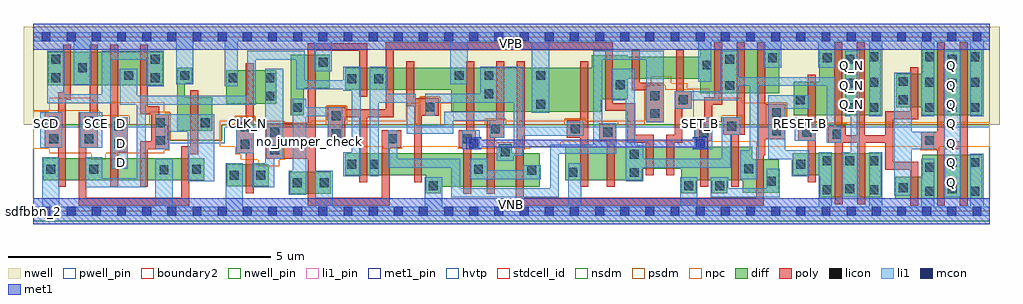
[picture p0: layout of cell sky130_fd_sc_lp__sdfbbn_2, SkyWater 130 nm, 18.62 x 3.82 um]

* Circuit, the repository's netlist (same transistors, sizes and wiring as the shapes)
* Copyright 2020 The SkyWater PDK Authors
*
* Licensed under the Apache License, Version 2.0 (the "License");
* you may not use this file except in compliance with the License.
* You may obtain a copy of the License at
*
*     https://www.apache.org/licenses/LICENSE-2.0
*
* Unless required by applicable law or agreed to in writing, software
* distributed under the License is distributed on an "AS IS" BASIS,
* WITHOUT WARRANTIES OR CONDITIONS OF ANY KIND, either express or implied.
* See the License for the specific language governing permissions and
* limitations under the License.
*
* SPDX-License-Identifier: Apache-2.0

.SUBCKT sky130_fd_sc_lp__sdfbbn_2 CLK_N D RESET_B SCD SCE SET_B VGND VNB VPB VPWR Q Q_N
*.PININFO CLK_N:I D:I RESET_B:I SCD:I SCE:I SET_B:I VGND:I VNB:I VPB:I
*.PININFO VPWR:I Q:O Q_N:O
MI98 net105 D n0 VNB sky130_fd_pr__nfet_01v8 m=1 w=0.42U l=0.15U mult=1 sa=0.265
+ sb=0.265 sd=0.28 area=0.525 perim=3.1
MI103 n1 SCD VGND VNB sky130_fd_pr__nfet_01v8 m=1 w=0.42U l=0.15U mult=1 sa=0.265
+ sb=0.265 sd=0.28 area=0.525 perim=3.1
MI104 n0 sceb VGND VNB sky130_fd_pr__nfet_01v8 m=1 w=0.42U l=0.15U mult=1 sa=0.265
+ sb=0.265 sd=0.28 area=0.525 perim=3.1
MI120 net105 SCE n1 VNB sky130_fd_pr__nfet_01v8 m=1 w=0.42U l=0.15U mult=1 sa=0.265
+ sb=0.265 sd=0.28 area=0.525 perim=3.1
MI46 clkneg clkpos VGND VNB sky130_fd_pr__nfet_01v8 m=1 w=0.42U l=0.15U mult=1
+ sa=0.265 sb=0.265 sd=0.28 area=0.063 perim=1.14
MI642 RESET RESET_B VGND VNB sky130_fd_pr__nfet_01v8 m=1 w=0.42U l=0.15U mult=1
+ sa=0.265 sb=0.265 sd=0.28 area=0.063 perim=1.14
MI676 M1 M0 net176 VNB sky130_fd_pr__nfet_01v8 m=1 w=0.64U l=0.15U mult=1 sa=0.265
+ sb=0.265 sd=0.28 area=0.063 perim=1.14
MI675 net176 SET_B VGND VNB sky130_fd_pr__nfet_01v8 m=1 w=0.64U l=0.15U mult=1
+ sa=0.265 sb=0.265 sd=0.28 area=0.063 perim=1.14
MI653 Q net217 VGND VNB sky130_fd_pr__nfet_01v8 m=2 w=0.84U l=0.15U mult=1 sa=0.265
+ sb=0.265 sd=0.28 area=0.063 perim=1.14
MI677 M1 RESET net176 VNB sky130_fd_pr__nfet_01v8 m=1 w=0.64U l=0.15U mult=1 sa=0.265
+ sb=0.265 sd=0.28 area=0.063 perim=1.14
MI648 M0 clkpos net164 VNB sky130_fd_pr__nfet_01v8 m=1 w=0.42U l=0.15U mult=1 sa=0.265
+ sb=0.265 sd=0.28 area=0.063 perim=1.14
MI44 clkpos CLK_N VGND VNB sky130_fd_pr__nfet_01v8 m=1 w=0.42U l=0.15U mult=1 sa=0.265
+ sb=0.265 sd=0.28 area=0.063 perim=1.14
MI649 net164 M1 VGND VNB sky130_fd_pr__nfet_01v8 m=1 w=0.42U l=0.15U mult=1 sa=0.265
+ sb=0.265 sd=0.28 area=0.063 perim=1.14
MI655 S0 clkneg net149 VNB sky130_fd_pr__nfet_01v8 m=1 w=0.42U l=0.15U mult=1 sa=0.265
+ sb=0.265 sd=0.28 area=0.063 perim=1.14
MI654 net149 net125 VGND VNB sky130_fd_pr__nfet_01v8 m=1 w=0.42U l=0.15U mult=1
+ sa=0.265 sb=0.265 sd=0.28 area=0.063 perim=1.14
MI651 Q_N net125 VGND VNB sky130_fd_pr__nfet_01v8 m=2 w=0.84U l=0.15U mult=1 sa=0.265
+ sb=0.265 sd=0.28 area=0.063 perim=1.14
MI652 net217 net125 VGND VNB sky130_fd_pr__nfet_01v8 m=1 w=0.42U l=0.15U mult=1
+ sa=0.265 sb=0.265 sd=0.28 area=0.063 perim=1.14
MI42 net105 clkneg M0 VNB sky130_fd_pr__nfet_01v8 m=1 w=0.42U l=0.15U mult=1 sa=0.265
+ sb=0.265 sd=0.28 area=0.063 perim=1.14
MI668 S0 clkpos net136 VNB sky130_fd_pr__nfet_01v8 m=1 w=0.64U l=0.15U mult=1 sa=0.265
+ sb=0.265 sd=0.28 area=0.063 perim=1.14
MI667 net136 M1 VGND VNB sky130_fd_pr__nfet_01v8 m=1 w=0.64U l=0.15U mult=1 sa=0.265
+ sb=0.265 sd=0.28 area=0.063 perim=1.14
MI630 net125 RESET net124 VNB sky130_fd_pr__nfet_01v8 m=1 w=0.64U l=0.15U mult=1
+ sa=0.265 sb=0.265 sd=0.28 area=0.063 perim=1.14
MI3 net125 S0 net124 VNB sky130_fd_pr__nfet_01v8 m=1 w=0.64U l=0.15U mult=1 sa=0.265
+ sb=0.265 sd=0.28 area=0.063 perim=1.14
MI7 net124 SET_B VGND VNB sky130_fd_pr__nfet_01v8 m=1 w=0.64U l=0.15U mult=1 sa=0.265
+ sb=0.265 sd=0.28 area=0.063 perim=1.14
MI639 sceb SCE VGND VNB sky130_fd_pr__nfet_01v8 m=1 w=0.42U l=0.15U mult=1 sa=0.265
+ sb=0.265 sd=0.28 area=0.063 perim=1.14
MI107 p0 SCE VPWR VPB sky130_fd_pr__pfet_01v8_hvt m=1 w=0.64U l=0.15U mult=1 sa=0.265
+ sb=0.265 sd=0.28 area=0.063 perim=1.14
MI94 net105 D p0 VPB sky130_fd_pr__pfet_01v8_hvt m=1 w=0.64U l=0.15U mult=1 sa=0.265
+ sb=0.265 sd=0.28 area=0.063 perim=1.14
MI101 net105 sceb p1 VPB sky130_fd_pr__pfet_01v8_hvt m=1 w=0.64U l=0.15U mult=1
+ sa=0.265 sb=0.265 sd=0.28 area=0.063 perim=1.14
MI108 p1 SCD VPWR VPB sky130_fd_pr__pfet_01v8_hvt m=1 w=0.64U l=0.15U mult=1 sa=0.265
+ sb=0.265 sd=0.28 area=0.063 perim=1.14
MI679 M1 SET_B VPWR VPB sky130_fd_pr__pfet_01v8_hvt m=1 w=0.84U l=0.15U mult=1
+ sa=0.265 sb=0.265 sd=0.28 area=0.063 perim=1.14
MI669 S0 clkneg net269 VPB sky130_fd_pr__pfet_01v8_hvt m=1 w=0.84U l=0.15U mult=1
+ sa=0.265 sb=0.265 sd=0.28 area=0.063 perim=1.14
MI660 Q net217 VPWR VPB sky130_fd_pr__pfet_01v8_hvt m=2 w=1.26U l=0.15U mult=1
+ sa=0.265 sb=0.265 sd=0.28 area=0.063 perim=1.14
MI9 net125 S0 net272 VPB sky130_fd_pr__pfet_01v8_hvt m=1 w=0.84U l=0.15U mult=1
+ sa=0.265 sb=0.265 sd=0.28 area=0.063 perim=1.14
MI670 net269 M1 VPWR VPB sky130_fd_pr__pfet_01v8_hvt m=1 w=0.84U l=0.15U mult=1
+ sa=0.265 sb=0.265 sd=0.28 area=0.063 perim=1.14
MI678 net220 RESET VPWR VPB sky130_fd_pr__pfet_01v8_hvt m=1 w=0.84U l=0.15U mult=1
+ sa=0.265 sb=0.265 sd=0.28 area=0.063 perim=1.14
MI662 net261 net125 VPWR VPB sky130_fd_pr__pfet_01v8_hvt m=1 w=0.42U l=0.15U mult=1
+ sa=0.265 sb=0.265 sd=0.28 area=0.063 perim=1.14
MI664 S0 clkpos net261 VPB sky130_fd_pr__pfet_01v8_hvt m=1 w=0.42U l=0.15U mult=1
+ sa=0.265 sb=0.265 sd=0.28 area=0.063 perim=1.14
MI10 net125 SET_B VPWR VPB sky130_fd_pr__pfet_01v8_hvt m=1 w=0.84U l=0.15U mult=1
+ sa=0.265 sb=0.265 sd=0.28 area=0.063 perim=1.14
MI11 net272 RESET VPWR VPB sky130_fd_pr__pfet_01v8_hvt m=1 w=0.84U l=0.15U mult=1
+ sa=0.265 sb=0.265 sd=0.28 area=0.063 perim=1.14
MI650 net245 M1 VPWR VPB sky130_fd_pr__pfet_01v8_hvt m=1 w=0.42U l=0.15U mult=1
+ sa=0.265 sb=0.265 sd=0.28 area=0.063 perim=1.14
MI43 net105 clkpos M0 VPB sky130_fd_pr__pfet_01v8_hvt m=1 w=0.42U l=0.15U mult=1
+ sa=0.265 sb=0.265 sd=0.28 area=0.063 perim=1.14
MI656 M0 clkneg net245 VPB sky130_fd_pr__pfet_01v8_hvt m=1 w=0.42U l=0.15U mult=1
+ sa=0.265 sb=0.265 sd=0.28 area=0.063 perim=1.14
MI643 RESET RESET_B VPWR VPB sky130_fd_pr__pfet_01v8_hvt m=1 w=0.64U l=0.15U mult=1
+ sa=0.265 sb=0.265 sd=0.28 area=0.063 perim=1.14
MI47 clkneg clkpos VPWR VPB sky130_fd_pr__pfet_01v8_hvt m=1 w=0.64U l=0.15U mult=1
+ sa=0.265 sb=0.265 sd=0.28 area=0.063 perim=1.14
MI45 clkpos CLK_N VPWR VPB sky130_fd_pr__pfet_01v8_hvt m=1 w=0.64U l=0.15U mult=1
+ sa=0.265 sb=0.265 sd=0.28 area=0.063 perim=1.14
MI680 M1 M0 net220 VPB sky130_fd_pr__pfet_01v8_hvt m=1 w=0.84U l=0.15U mult=1 sa=0.265
+ sb=0.265 sd=0.28 area=0.063 perim=1.14
MI663 net217 net125 VPWR VPB sky130_fd_pr__pfet_01v8_hvt m=1 w=0.64U l=0.15U mult=1
+ sa=0.265 sb=0.265 sd=0.28 area=0.063 perim=1.14
MI661 Q_N net125 VPWR VPB sky130_fd_pr__pfet_01v8_hvt m=2 w=1.26U l=0.15U mult=1
+ sa=0.265 sb=0.265 sd=0.28 area=0.063 perim=1.14
MI640 sceb SCE VPWR VPB sky130_fd_pr__pfet_01v8_hvt m=1 w=0.64U l=0.15U mult=1
+ sa=0.265 sb=0.265 sd=0.28 area=0.063 perim=1.14
.ENDS sky130_fd_sc_lp__sdfbbn_2

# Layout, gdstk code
import gdstk
lib = gdstk.Library(unit=1e-6, precision=1e-09)
def R(c, l, rs):  # rectangles x0, y0, x1, y1
    for r in rs: c.add(gdstk.rectangle(r[:2], r[2:], *l))
def A(c, l, x, y, w, h, nx, ny, dx, dy):  # array of equal rectangles
    R(c, l, [(x+i*dx, y+j*dy, x+i*dx+w, y+j*dy+h) for i in range(nx) for j in range(ny)])
def P(c, l, *ps):  # polygons
    for p in ps: c.add(gdstk.Polygon(p, *l))
nwell_pin = (64, 16)
nwell = (64, 20)
diff = (65, 20)
poly = (66, 20)
licon = (66, 44)
li1_pin = (67, 16)
li1 = (67, 20)
mcon = (67, 44)
met1_pin = (68, 16)
met1 = (68, 20)
hvtp = (78, 44)
stdcell_id = (81, 4)
nsdm = (93, 44)
psdm = (94, 20)
npc = (95, 20)
pwell_pin = (122, 16)
boundary2 = (236, 0)

sky130_fd_sc_lp__sdfbbn_ = lib.new_cell('sky130_fd_sc_lp__sdfbbn_2')
R(sky130_fd_sc_lp__sdfbbn_, nwell_pin, [(0,3.085,18.24,3.33)])
P(sky130_fd_sc_lp__sdfbbn_, nwell, [(18.43,3.52),(-0.19,3.52),(-0.19,1.655),(2.56,1.655),(2.56,1.355),(3.59,1.355),(3.59,1.655),(18.43,1.655)])
R(sky130_fd_sc_lp__sdfbbn_, diff, [(4.89,0.335,5.675,0.755), (3.685,0.475,4.485,0.895), (0.185,0.595,3.255,1.015), (3.68,2.055,4.635,2.695), (0.28,2.405,2.47,3.045)])
P(sky130_fd_sc_lp__sdfbbn_, diff, [(3.41,2.175),(2.89,2.175),(2.89,2.445),(3.03,2.445),(3.03,2.735),(2.74,2.735),(2.74,1.535),(3.41,1.535)],
  [(5.655,2.985),(4.905,2.985),(4.905,1.835),(5.16,1.835),(5.16,2.345),(5.655,2.345)],
  [(9.655,1.105),(9.125,1.105),(9.125,1.275),(8.875,1.275),(8.875,1.105),(5.945,1.105),(5.945,0.685),(7.485,0.685),(7.485,0.34),(7.775,0.34),(7.775,0.465),(9.655,0.465)],
  [(14.22,0.995),(13.71,0.995),(13.71,1.235),(10.145,1.235),(10.145,0.595),(11.61,0.595),(11.61,0.815),(12.355,0.815),(12.355,0.34),(12.645,0.34),(12.645,0.595),(12.945,0.595),(12.945,0.34),(13.235,0.34),(13.235,0.595),(13.535,0.595),(13.535,0.355),(14.22,0.355)],
  [(14.23,3.095),(12.72,3.095),(12.72,2.95),(11.34,2.95),(11.34,2.98),(10.655,2.98),(10.655,2.735),(5.945,2.735),(5.945,2.315),(7.975,2.315),(7.975,1.895),(10.83,1.895),(10.83,2.14),(11.34,2.14),(11.34,2.53),(12.72,2.53),(12.72,2.255),(14.23,2.255)],
  [(16.16,3.095),(14.995,3.095),(14.995,2.475),(14.5,2.475),(14.5,1.835),(16.16,1.835)],
  [(16.175,1.105),(14.49,1.105),(14.49,0.685),(15,0.685),(15,0.265),(16.175,0.265)],
  [(18.105,3.095),(16.955,3.095),(16.955,2.62),(16.46,2.62),(16.46,1.98),(16.955,1.98),(16.955,1.835),(18.105,1.835)],
  [(18.105,1.075),(16.955,1.075),(16.955,0.655),(16.445,0.655),(16.445,0.235),(18.105,0.235)])
P(sky130_fd_sc_lp__sdfbbn_, poly, [(0.715,3.175),(0.565,3.175),(0.565,2.275),(0.47,2.275),(0.47,1.885),(0.22,1.885),(0.22,1.215),(0.47,1.215),(0.47,0.465),(0.62,0.465),(0.62,2.125),(0.715,2.125)],
  [(1.795,1.795),(1.615,1.795),(1.615,3.175),(1.465,3.175),(1.465,0.465),(1.615,0.465),(1.615,1.125),(1.795,1.125)],
  [(2.58,1.855),(2.4,1.855),(2.4,2.005),(2.185,2.005),(2.185,3.175),(2.035,3.175),(2.035,1.855),(2.25,1.855),(2.25,1.335),(2.035,1.335),(2.035,0.465),(2.185,0.465),(2.185,1.185),(2.58,1.185)],
  [(3.14,2.305),(2.99,2.305),(2.99,1.24),(2.82,1.24),(2.82,0.255),(1.01,0.255),(1.01,1.215),(1.225,1.215),(1.225,3.175),(1.075,3.175),(1.075,1.885),(0.86,1.885),(0.86,0.105),(2.97,0.105),(2.97,1.09),(3.14,1.09)],
  [(4.2,2.825),(4.05,2.825),(4.05,1.78),(3.87,1.78),(3.87,1.11),(4.05,1.11),(4.05,0.345),(4.2,0.345)],
  [(7.02,1.545),(6.645,1.545),(6.645,0.26),(5.385,0.26),(5.385,3.06),(6.215,3.06),(6.215,2.185),(6.365,2.185),(6.365,3.21),(5.235,3.21),(5.235,1.675),(4.44,1.675),(4.44,1.005),(5.235,1.005),(5.235,0.11),(6.795,0.11),(6.795,1.215),(7.02,1.215)],
  [(7.73,2.155),(7.265,2.155),(7.265,2.865),(7.115,2.865),(7.115,2.005),(7.26,2.005),(7.26,0.555),(7.41,0.555),(7.41,1.825),(7.73,1.825)],
  [(8.44,1.545),(8.41,1.545),(8.41,2.865),(8.26,2.865),(8.26,1.545),(8.11,1.545),(8.11,1.215),(8.2,1.215),(8.2,0.335),(8.35,0.335),(8.35,1.215),(8.44,1.215)],
  [(8.98,2.865),(8.83,2.865),(8.83,1.735),(8.65,1.735),(8.65,0.335),(8.8,0.335),(8.8,1.405),(8.98,1.405)],
  [(10.58,2.865),(10.43,2.865),(10.43,1.735),(10.17,1.735),(10.17,1.405),(10.43,1.405),(10.43,0.465),(10.58,0.465)],
  [(11.12,1.675),(10.79,1.675),(10.79,1.345),(10.94,1.345),(10.94,0.465),(11.09,0.465),(11.09,1.345),(11.12,1.345)],
  [(11.835,1.46),(11.48,1.46),(11.48,2.065),(11.055,2.065),(11.055,3.225),(6.725,3.225),(6.725,1.945),(5.945,1.945),(5.945,1.985),(5.615,1.985),(5.615,1.315),(5.945,1.315),(5.945,1.795),(6.215,1.795),(6.215,0.555),(6.365,0.555),(6.365,1.795),(6.875,1.795),(6.875,3.075),(10.905,3.075),(10.905,1.915),(11.33,1.915),(11.33,1.31),(11.685,1.31),(11.685,0.685),(11.835,0.685)],
  [(12.02,2.455),(11.565,2.455),(11.565,3.08),(11.415,3.08),(11.415,2.305),(11.69,2.305),(11.69,1.7),(12.02,1.7)],
  [(12.56,2.29),(12.41,2.29),(12.41,3.08),(12.26,3.08),(12.26,2.29),(12.23,2.29),(12.23,1.46),(12.075,1.46),(12.075,0.685),(12.225,0.685),(12.225,1.31),(12.38,1.31),(12.38,1.96),(12.56,1.96)],
  [(13.14,3.225),(12.99,3.225),(12.99,2.18),(12.8,2.18),(12.8,1.675),(12.62,1.675),(12.62,1.345),(12.72,1.345),(12.72,0.465),(12.87,0.465),(12.87,1.345),(12.95,1.345),(12.95,2.03),(13.14,2.03)],
  [(13.57,3.225),(13.42,3.225),(13.42,1.79),(13.16,1.79),(13.16,1.46),(13.31,1.46),(13.31,0.465),(13.46,0.465),(13.46,1.46),(13.57,1.46)],
  [(14.34,2.045),(13.96,2.045),(13.96,3.225),(13.81,3.225),(13.81,1.22),(13.785,1.22),(13.785,0.255),(9.35,0.255),(9.35,1.18),(9.37,1.18),(9.37,2.865),(9.22,2.865),(9.22,1.33),(9.2,1.33),(9.2,0.105),(13.935,0.105),(13.935,1.07),(13.96,1.07),(13.96,1.375),(14.34,1.375)],
  [(14.925,1.495),(14.92,1.495),(14.92,2.605),(14.77,2.605),(14.77,1.675),(14.59,1.675),(14.59,1.345),(14.775,1.345),(14.775,0.555),(14.925,0.555)],
  [(16.88,0.945),(16.4,0.945),(16.4,1.755),(16.88,1.755),(16.88,2.75),(16.73,2.75),(16.73,1.905),(16.25,1.905),(16.25,1.455),(15.86,1.455),(15.86,3.225),(15.71,3.225),(15.71,1.455),(15.495,1.455),(15.495,1.635),(15.43,1.635),(15.43,3.225),(15.28,3.225),(15.28,1.635),(15.165,1.635),(15.165,1.305),(15.285,1.305),(15.285,0.135),(15.435,0.135),(15.435,1.305),(15.715,1.305),(15.715,0.135),(15.865,0.135),(15.865,1.305),(16.25,1.305),(16.25,0.795),(16.73,0.795),(16.73,0.105),(16.88,0.105)],
  [(17.82,3.225),(17.67,3.225),(17.67,1.335),(17.39,1.335),(17.39,3.225),(17.24,3.225),(17.24,1.515),(16.935,1.515),(16.935,1.185),(17.24,1.185),(17.24,0.105),(17.39,0.105),(17.39,1.185),(17.67,1.185),(17.67,0.105),(17.82,0.105)])
A(sky130_fd_sc_lp__sdfbbn_, licon, 15.485, 1.895, 0.17, 0.17, 1, 3, 0, 0.46)
A(sky130_fd_sc_lp__sdfbbn_, licon, 15.945, 1.895, 0.17, 0.17, 1, 3, 0, 0.485)
A(sky130_fd_sc_lp__sdfbbn_, licon, 17.015, 1.895, 0.17, 0.17, 3, 1, 0.43, 0)
R(sky130_fd_sc_lp__sdfbbn_, licon, [(17.015,0.295,17.185,0.465), (17.875,0.295,18.045,0.465), (15.06,0.325,15.23,0.495), (15.945,0.325,16.115,0.495), (15.49,0.345,15.66,0.515), (17.445,0.345,17.615,0.515), (16.505,0.36,16.675,0.53), (7.545,0.4,7.715,0.57), (12.415,0.4,12.585,0.57), (13.005,0.4,13.175,0.57), (4.95,0.46,5.12,0.63), (5.46,0.46,5.63,0.63), (13.99,0.49,14.16,0.66), (3.745,0.6,3.915,0.77), (4.255,0.6,4.425,0.77), (11.38,0.655,11.55,0.825), (10.205,0.66,10.375,0.83), (9.425,0.7,9.595,0.87), (2.405,0.705,2.575,0.875), (0.245,0.72,0.415,0.89), (1.065,0.72,1.235,0.89), (3.025,0.72,3.195,0.89), (8.405,0.72,8.575,0.89), (13.56,0.73,13.73,0.9), (17.015,0.755,17.185,0.925), (5.99,0.81,6.16,0.98), (6.42,0.81,6.59,0.98), (14.55,0.81,14.72,0.98), (17.445,0.845,17.615,1.015), (17.875,0.845,18.045,1.015), (15.06,0.875,15.23,1.045), (15.49,0.875,15.66,1.045), (15.945,0.875,16.115,1.045), (11.38,1.005,11.55,1.175), (8.915,1.045,9.085,1.215), (4.52,1.085,4.69,1.255), (3.95,1.19,4.12,1.36), (1.545,1.205,1.715,1.375), (2.33,1.265,2.5,1.435), (17.015,1.265,17.185,1.435), (0.3,1.295,0.47,1.465), (0.975,1.295,1.145,1.465), (6.77,1.295,6.94,1.465), (8.19,1.295,8.36,1.465), (15.245,1.385,15.415,1.555), (5.695,1.395,5.865,1.565), (4.52,1.425,4.69,1.595), (10.87,1.425,11.04,1.595), (12.7,1.425,12.87,1.595), (14.67,1.425,14.84,1.595), (14.09,1.455,14.26,1.625), (8.73,1.485,8.9,1.655), (10.25,1.485,10.42,1.655), (3.95,1.53,4.12,1.7), (13.24,1.54,13.41,1.71), (1.545,1.545,1.715,1.715), (3.195,1.6,3.365,1.77), (2.33,1.605,2.5,1.775), (0.3,1.635,0.47,1.805), (0.975,1.635,1.145,1.805), (5.695,1.735,5.865,1.905), (11.77,1.78,11.94,1.95), (14.09,1.795,14.26,1.965), (4.95,1.895,5.12,2.065), (7.48,1.905,7.65,2.075), (9.59,1.955,9.76,2.125), (12.31,2.04,12.48,2.21), (14.545,2.04,14.715,2.21), (16.505,2.04,16.675,2.21), (4.425,2.115,4.595,2.285), (11.77,2.12,11.94,2.29), (8.605,2.155,8.775,2.325), (13.195,2.315,13.365,2.485), (11.11,2.33,11.28,2.5), (17.445,2.355,17.615,2.525), (17.015,2.38,17.185,2.55), (17.875,2.38,18.045,2.55), (16.505,2.39,16.675,2.56), (5.99,2.44,6.16,2.61), (6.5,2.44,6.67,2.61), (0.34,2.465,0.51,2.635), (2.24,2.465,2.41,2.635), (3.725,2.465,3.895,2.635), (4.425,2.465,4.595,2.635), (1.73,2.505,1.9,2.675), (2.8,2.505,2.97,2.675), (8.035,2.505,8.205,2.675), (8.605,2.505,8.775,2.675), (9.59,2.505,9.76,2.675), (0.85,2.655,1.02,2.825), (12.765,2.705,12.935,2.875), (5.44,2.755,5.61,2.925), (0.34,2.815,0.51,2.985), (2.24,2.815,2.41,2.985), (13.195,2.815,13.365,2.985), (17.445,2.815,17.615,2.985), (14.015,2.84,14.185,3.01), (15.055,2.84,15.225,3.01), (17.015,2.865,17.185,3.035), (17.875,2.865,18.045,3.035)])
A(sky130_fd_sc_lp__sdfbbn_, li1_pin, 17.435, 0.47, 0.17, 0.17, 1, 7, 0, 0.37)
A(sky130_fd_sc_lp__sdfbbn_, li1_pin, 1.595, 0.84, 0.17, 0.17, 1, 3, 0, 0.37)
A(sky130_fd_sc_lp__sdfbbn_, li1_pin, 15.515, 1.95, 0.17, 0.17, 1, 3, 0, 0.37)
R(sky130_fd_sc_lp__sdfbbn_, li1_pin, [(3.995,1.21,4.165,1.38), (0.155,1.58,0.325,1.75), (1.115,1.58,1.285,1.75), (3.995,1.58,4.165,1.75), (12.635,1.58,12.805,1.75), (14.555,1.58,14.725,1.75)])
R(sky130_fd_sc_lp__sdfbbn_, li1, [(17.365,0.265,17.695,3.065), (1.495,0.81,1.795,1.795), (3.87,1.11,4.2,1.78), (8.185,1.18,8.515,1.545), (12.605,1.18,12.95,1.78), (0.125,1.215,0.55,1.885), (0.895,1.215,1.315,1.885), (14.525,1.345,14.92,1.78)])
P(sky130_fd_sc_lp__sdfbbn_, li1, [(0.77,2.415),(0.77,3.245),(0,3.245),(0,3.415),(18.24,3.415),(18.24,3.245),(18.125,3.245),(18.125,1.815),(17.875,1.815),(17.875,3.245),(17.185,3.245),(17.185,1.815),(16.935,1.815),(16.935,3.245),(16.195,3.245),(16.195,1.815),(15.945,1.815),(15.945,3.245),(15.305,3.245),(15.305,2.74),(14.975,2.74),(14.975,3.245),(14.265,3.245),(14.265,2.74),(13.935,2.74),(13.935,3.245),(12.935,3.245),(12.935,2.47),(12.685,2.47),(12.685,3.245),(9.84,3.245),(9.84,1.875),(9.51,1.875),(9.51,3.245),(8.285,3.245),(8.285,2.425),(7.955,2.425),(7.955,3.245),(5.69,3.245),(5.69,2.675),(5.36,2.675),(5.36,3.245),(3.895,3.245),(3.895,2.385),(3.645,2.385),(3.645,3.245),(3.05,3.245),(3.05,2.425),(2.72,2.425),(2.72,3.245),(1.1,3.245),(1.1,2.415)],
  [(0.165,0.085),(0.165,1.035),(0.495,1.035),(0.495,0.085),(2.325,0.085),(2.325,1.005),(2.655,1.005),(2.655,0.085),(3.665,0.085),(3.665,0.915),(3.995,0.915),(3.995,0.085),(5.38,0.085),(5.38,0.775),(5.71,0.775),(5.71,0.085),(7.465,0.085),(7.465,0.65),(7.795,0.65),(7.795,0.085),(10.205,0.085),(10.205,0.915),(10.455,0.915),(10.455,0.085),(12.335,0.085),(12.335,0.65),(12.665,0.65),(12.665,0.085),(14.98,0.085),(14.98,1.125),(15.23,1.125),(15.23,0.085),(15.945,0.085),(15.945,1.125),(16.195,1.125),(16.195,0.085),(16.935,0.085),(16.935,1.005),(17.185,1.005),(17.185,0.085),(17.875,0.085),(17.875,1.095),(18.125,1.095),(18.125,0.085),(18.24,0.085),(18.24,-0.085),(0,-0.085),(0,0.085)],
  [(6.75,2.245),(7.295,2.245),(7.295,1.645),(7.835,1.645),(7.835,1.895),(8.98,1.895),(8.98,1.405),(8.705,1.405),(8.705,1.725),(8.005,1.725),(8.005,1.475),(7.125,1.475),(7.125,2.075),(6.59,2.075),(6.59,0.665),(6.42,0.665),(6.42,2.755),(6.75,2.755)],
  [(13.445,2.56),(15.305,2.56),(15.305,1.635),(15.415,1.635),(15.415,1.305),(15.135,1.305),(15.135,2.39),(13.835,2.39),(13.835,0.995),(13.81,0.995),(13.81,0.615),(13.48,0.615),(13.48,1.165),(13.665,1.165),(13.665,2.39),(13.445,2.39),(13.445,2.12),(12.56,2.12),(12.56,1.96),(12.23,1.96),(12.23,2.29),(13.115,2.29),(13.115,3.065),(13.445,3.065)],
  [(16.755,1.515),(17.185,1.515),(17.185,1.185),(16.755,1.185),(16.755,0.295),(16.425,0.295),(16.425,2.64),(16.755,2.64)],
  [(3.445,1.855),(3.445,0.575),(2.945,0.575),(2.945,1.515),(2.58,1.515),(2.58,1.185),(2.325,1.185),(2.325,1.855)],
  [(0.26,2.065),(0.26,3.065),(0.59,3.065),(0.59,2.235),(1.3,2.235),(1.3,3.065),(2.49,3.065),(2.49,2.385),(2.16,2.385),(2.16,2.895),(1.47,2.895),(1.47,2.065)],
  [(4.175,0.455),(4.175,0.915),(4.425,0.915),(4.425,2.715),(4.77,2.715),(4.77,1.005),(4.595,1.005),(4.595,0.455)],
  [(5.2,1.985),(5.89,1.985),(5.89,1.315),(5.615,1.315),(5.615,1.815),(5.2,1.815),(5.2,0.315),(4.87,0.315),(4.87,0.775),(4.95,0.775),(4.95,2.145),(5.2,2.145)],
  [(9.855,1.265),(10.68,1.265),(10.68,3.065),(12.02,3.065),(12.02,1.7),(11.69,1.7),(11.69,2.895),(10.85,2.895),(10.85,1.675),(11.12,1.675),(11.12,1.095),(10.025,1.095),(10.025,0.265),(7.975,0.265),(7.975,0.83),(6.77,0.83),(6.77,1.545),(6.945,1.545),(6.945,1),(8.145,1),(8.145,0.435),(9.855,0.435)],
  [(11.63,1),(13.13,1),(13.13,1.79),(13.485,1.79),(13.485,1.46),(13.3,1.46),(13.3,0.83),(11.63,0.83),(11.63,0.575),(11.3,0.575),(11.3,2.12),(11.03,2.12),(11.03,2.715),(11.47,2.715),(11.47,1.255),(11.63,1.255)],
  [(8.325,0.615),(8.325,1),(8.655,1),(8.655,0.785),(9.345,0.785),(9.345,0.875),(9.675,0.875),(9.675,0.615)],
  [(9.16,1.225),(9.16,2.075),(7.655,2.075),(7.655,1.825),(7.475,1.825),(7.475,2.245),(8.525,2.245),(8.525,2.755),(9.33,2.755),(9.33,1.615),(10.17,1.615),(10.17,1.705),(10.5,1.705),(10.5,1.445),(9.33,1.445),(9.33,1.055),(9.165,1.055),(9.165,0.965),(8.835,0.965),(8.835,1.225)],
  [(4.075,2.205),(4.075,3.065),(5.18,3.065),(5.18,2.495),(5.91,2.495),(5.91,2.755),(6.24,2.755),(6.24,0.665),(5.91,0.665),(5.91,1.125),(6.07,1.125),(6.07,2.295),(5.91,2.295),(5.91,2.325),(5.01,2.325),(5.01,2.895),(4.245,2.895),(4.245,2.035),(2.145,2.035),(2.145,0.46),(0.985,0.46),(0.985,1.035),(1.315,1.035),(1.315,0.63),(1.975,0.63),(1.975,2.035),(1.65,2.035),(1.65,2.715),(1.98,2.715),(1.98,2.205)],
  [(13.99,0.435),(13.99,0.815),(14.24,0.815),(14.24,0.265),(12.925,0.265),(12.925,0.65),(13.255,0.65),(13.255,0.435)],
  [(14.015,2.21),(14.795,2.21),(14.795,1.96),(14.34,1.96),(14.34,1.165),(14.8,1.165),(14.8,0.665),(14.47,0.665),(14.47,0.995),(14.015,0.995)],
  [(15.485,1.815),(15.485,3.065),(15.765,3.065),(15.765,0.265),(15.41,0.265),(15.41,1.125),(15.595,1.125),(15.595,1.815)])
A(sky130_fd_sc_lp__sdfbbn_, mcon, 0.155, -0.085, 0.17, 0.17, 38, 2, 0.48, 3.33)
R(sky130_fd_sc_lp__sdfbbn_, mcon, [(8.315,1.21,8.485,1.38), (12.635,1.21,12.805,1.38)])
R(sky130_fd_sc_lp__sdfbbn_, met1_pin, [(0,0,18.24,0.245), (0,3.085,18.24,3.33)])
R(sky130_fd_sc_lp__sdfbbn_, met1, [(0,-0.245,18.24,0.245), (0,3.085,18.24,3.575)])
P(sky130_fd_sc_lp__sdfbbn_, met1, [(8.545,1.365),(12.575,1.365),(12.575,1.41),(12.865,1.41),(12.865,1.18),(12.575,1.18),(12.575,1.225),(8.545,1.225),(8.545,1.18),(8.255,1.18),(8.255,1.41),(8.545,1.41)])
P(sky130_fd_sc_lp__sdfbbn_, hvtp, [(18.24,3.33),(0,3.33),(0,1.6),(2.505,1.6),(2.505,1.3),(3.645,1.3),(3.645,1.6),(18.24,1.6)])
R(sky130_fd_sc_lp__sdfbbn_, stdcell_id, [(0,0,18.24,3.33)])
P(sky130_fd_sc_lp__sdfbbn_, nsdm, [(18.24,1.655),(3.59,1.655),(3.59,1.355),(2.56,1.355),(2.56,1.655),(0,1.655),(0,-0.19),(18.24,-0.19)])
P(sky130_fd_sc_lp__sdfbbn_, psdm, [(18.24,3.52),(0,3.52),(0,1.915),(1.255,1.915),(1.255,1.825),(1.825,1.825),(1.825,1.655),(2.22,1.655),(2.22,1.885),(2.61,1.885),(2.61,1.355),(3.59,1.355),(3.59,1.655),(3.84,1.655),(3.84,1.81),(4.23,1.81),(4.23,1.705),(4.8,1.705),(4.8,1.655),(5.585,1.655),(5.585,2.015),(5.975,2.015),(5.975,1.655),(7.37,1.655),(7.37,2.185),(7.76,2.185),(7.76,1.655),(8.62,1.655),(8.62,1.765),(9.01,1.765),(9.01,1.655),(10.14,1.655),(10.14,1.765),(10.53,1.765),(10.53,1.705),(11.15,1.705),(11.15,1.655),(11.66,1.655),(11.66,2.4),(12.05,2.4),(12.05,2.32),(12.59,2.32),(12.59,1.705),(13.13,1.705),(13.13,1.82),(13.52,1.82),(13.52,1.655),(13.98,1.655),(13.98,2.075),(14.37,2.075),(14.37,1.705),(14.95,1.705),(14.95,1.665),(15.525,1.665),(15.525,1.655),(18.24,1.655)])
P(sky130_fd_sc_lp__sdfbbn_, npc, [(2.6,1.875),(2.495,1.875),(2.495,2.08),(1.14,2.08),(1.14,2.17),(0.305,2.17),(0.305,1.905),(0,1.905),(0,1.195),(0.305,1.195),(0.305,1.105),(1.1,1.105),(1.1,0.98),(1.375,0.98),(1.375,1.105),(2.495,1.105),(2.495,1.165),(2.6,1.165)],
  [(18.24,1.695),(14.36,1.695),(14.36,2.065),(14.255,2.065),(14.255,2.075),(13.51,2.075),(13.51,2.165),(12.9,2.165),(12.9,2.34),(12.475,2.34),(12.475,2.44),(12.17,2.44),(12.17,2.575),(11.775,2.575),(11.775,2.39),(11.67,2.39),(11.67,1.73),(10.52,1.73),(10.52,1.755),(10.15,1.755),(10.15,1.73),(9,1.73),(9,1.755),(8.63,1.755),(8.63,1.73),(8.015,1.73),(8.015,2.07),(7.75,2.07),(7.75,2.175),(7.38,2.175),(7.38,2.07),(7.115,2.07),(7.115,1.73),(5.965,1.73),(5.965,2.005),(5.595,2.005),(5.595,1.73),(5.3,1.73),(5.3,1.695),(4.765,1.695),(4.765,1.73),(4.22,1.73),(4.22,1.8),(3.85,1.8),(3.85,1.73),(3.55,1.73),(3.55,1.23),(3.85,1.23),(3.85,1.09),(3.955,1.09),(3.955,0.985),(4.29,0.985),(4.29,0.86),(4.685,0.86),(4.685,0.985),(4.79,0.985),(4.79,1.23),(6.67,1.23),(6.67,1.195),(7.04,1.195),(7.04,1.23),(8.09,1.23),(8.09,1.195),(8.825,1.195),(8.825,1.305),(9.175,1.305),(9.175,1.195),(9.48,1.195),(9.48,1.23),(10.055,1.23),(10.055,1.325),(13.8,1.325),(13.8,1.23),(16.915,1.23),(16.915,1.165),(17.285,1.165),(17.285,1.23),(18.24,1.23)])
R(sky130_fd_sc_lp__sdfbbn_, pwell_pin, [(0,0,18.24,0.245)])
R(sky130_fd_sc_lp__sdfbbn_, boundary2, [(0,0,18.24,3.33)])
sky130_fd_sc_lp__sdfbbn_.add(gdstk.Label('VNB', (9.12,0.123), layer=64, texttype=59))
sky130_fd_sc_lp__sdfbbn_.add(gdstk.Label('VPB', (9.12,3.208), layer=64, texttype=5))
sky130_fd_sc_lp__sdfbbn_.add(gdstk.Label('sdfbbn_2', (0,0), layer=83, texttype=44))
sky130_fd_sc_lp__sdfbbn_.add(gdstk.Label('no_jumper_check', (5.275,1.33), layer=83, texttype=44))
sky130_fd_sc_lp__sdfbbn_.add(gdstk.Label('VPWR', (9.12,3.208), layer=68, texttype=5))
sky130_fd_sc_lp__sdfbbn_.add(gdstk.Label('VGND', (9.12,0.123), layer=68, texttype=5))
sky130_fd_sc_lp__sdfbbn_.add(gdstk.Label('SCD', (0.24,1.665), layer=67, texttype=5))
sky130_fd_sc_lp__sdfbbn_.add(gdstk.Label('SCE', (1.2,1.665), layer=67, texttype=5))
sky130_fd_sc_lp__sdfbbn_.add(gdstk.Label('D', (1.68,0.925), layer=67, texttype=5))
sky130_fd_sc_lp__sdfbbn_.add(gdstk.Label('D', (1.68,1.295), layer=67, texttype=5))
sky130_fd_sc_lp__sdfbbn_.add(gdstk.Label('D', (1.68,1.665), layer=67, texttype=5))
sky130_fd_sc_lp__sdfbbn_.add(gdstk.Label('CLK_N', (4.08,1.295), layer=67, texttype=5))
sky130_fd_sc_lp__sdfbbn_.add(gdstk.Label('CLK_N', (4.08,1.665), layer=67, texttype=5))
sky130_fd_sc_lp__sdfbbn_.add(gdstk.Label('RESET_B', (14.64,1.665), layer=67, texttype=5))
sky130_fd_sc_lp__sdfbbn_.add(gdstk.Label('SET_B', (12.72,1.665), layer=67, texttype=5))
sky130_fd_sc_lp__sdfbbn_.add(gdstk.Label('Q', (17.52,0.555), layer=67, texttype=5))
sky130_fd_sc_lp__sdfbbn_.add(gdstk.Label('Q', (17.52,0.925), layer=67, texttype=5))
sky130_fd_sc_lp__sdfbbn_.add(gdstk.Label('Q', (17.52,1.295), layer=67, texttype=5))
sky130_fd_sc_lp__sdfbbn_.add(gdstk.Label('Q', (17.52,1.665), layer=67, texttype=5))
sky130_fd_sc_lp__sdfbbn_.add(gdstk.Label('Q', (17.52,2.035), layer=67, texttype=5))
sky130_fd_sc_lp__sdfbbn_.add(gdstk.Label('Q', (17.52,2.405), layer=67, texttype=5))
sky130_fd_sc_lp__sdfbbn_.add(gdstk.Label('Q', (17.52,2.775), layer=67, texttype=5))
sky130_fd_sc_lp__sdfbbn_.add(gdstk.Label('Q_N', (15.6,2.035), layer=67, texttype=5))
sky130_fd_sc_lp__sdfbbn_.add(gdstk.Label('Q_N', (15.6,2.405), layer=67, texttype=5))
sky130_fd_sc_lp__sdfbbn_.add(gdstk.Label('Q_N', (15.6,2.775), layer=67, texttype=5))

lib.write_gds('sky130_fd_sc_lp__sdfbbn_2.gds')
